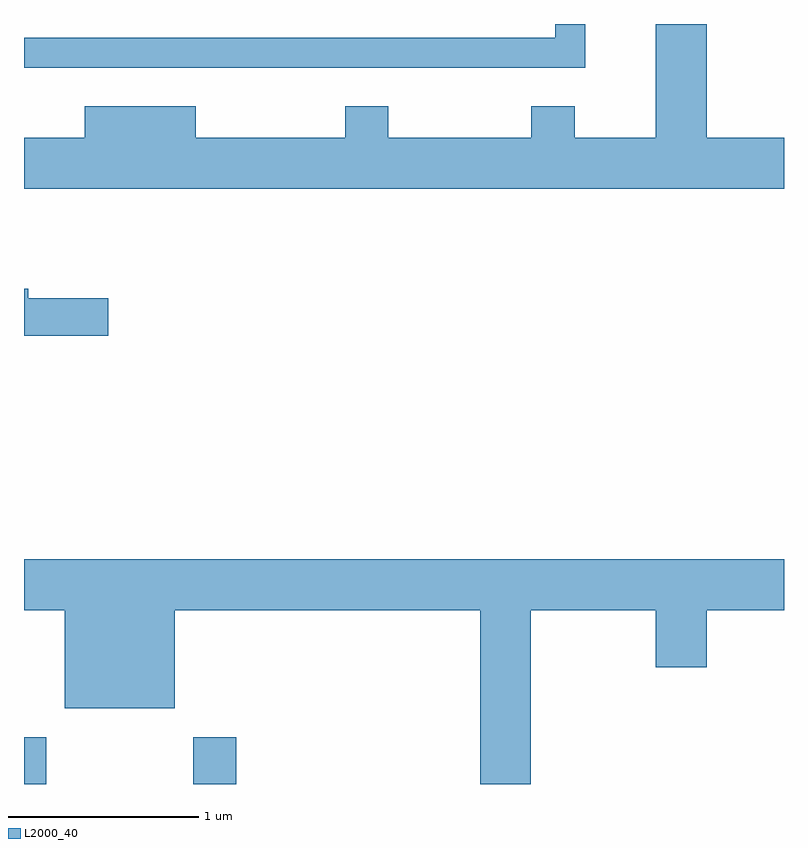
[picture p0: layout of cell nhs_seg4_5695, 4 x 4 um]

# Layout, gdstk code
import gdstk
lib = gdstk.Library(unit=1e-6, precision=1e-09)
def R(c, l, rs):  # rectangles x0, y0, x1, y1
    for r in rs: c.add(gdstk.rectangle(r[:2], r[2:], *l))
def P(c, l, *ps):  # polygons
    for p in ps: c.add(gdstk.Polygon(p, *l))
L2000_40 = (2000, 40)

nhs_seg4_5695 = lib.new_cell('nhs_seg4_5695')
R(nhs_seg4_5695, L2000_40, [(351.611,1355.982,351.729,1356.229), (352.501,1355.982,352.729,1356.229)])
P(nhs_seg4_5695, L2000_40, [(355.611,1359.384),(355.204,1359.384),(355.204,1359.982),(354.936,1359.982),(354.936,1359.384),(354.509,1359.384),(354.509,1359.549),(354.281,1359.549),(354.281,1359.384),(353.529,1359.384),(353.529,1359.549),(353.301,1359.549),(353.301,1359.384),(352.514,1359.384),(352.514,1359.549),(351.931,1359.549),(351.931,1359.384),(351.611,1359.384),(351.611,1359.116),(355.611,1359.116)],
  [(354.564,1359.982),(354.406,1359.982),(354.406,1359.909),(351.611,1359.909),(351.611,1359.751),(354.564,1359.751)],
  [(352.054,1358.539),(351.634,1358.539),(351.634,1358.589),(351.611,1358.589),(351.611,1358.341),(352.054,1358.341)],
  [(351.611,1356.896),(351.826,1356.896),(351.826,1356.381),(352.404,1356.381),(352.404,1356.896),(354.011,1356.896),(354.011,1355.982),(354.279,1355.982),(354.279,1356.896),(354.936,1356.896),(354.936,1356.596),(355.204,1356.596),(355.204,1356.896),(355.611,1356.896),(355.611,1357.164),(351.611,1357.164)])

lib.write_gds('nhs_seg4_5695.gds')
